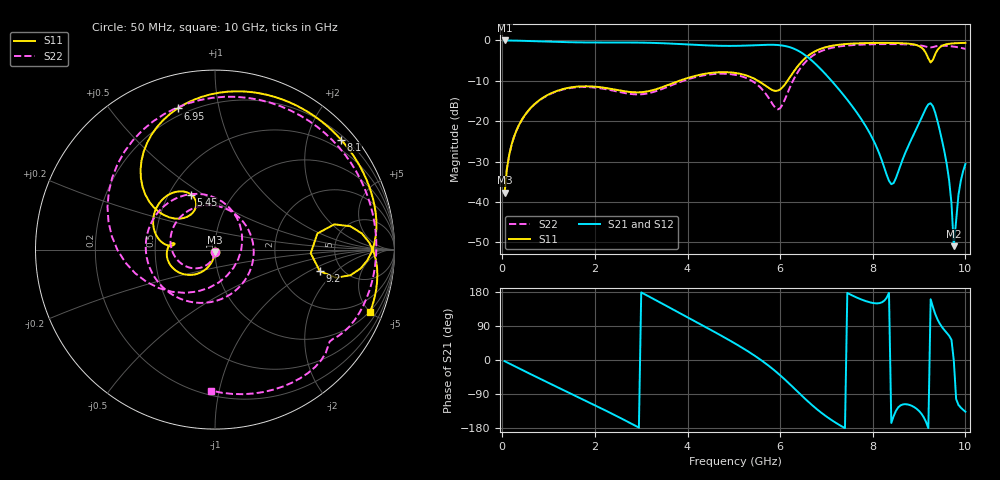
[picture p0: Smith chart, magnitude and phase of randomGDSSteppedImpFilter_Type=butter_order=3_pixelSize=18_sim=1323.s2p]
! freq	dB(S11)	phase(S11)	dB(S12)	phase(S12)
!  dB(S21)	phase(S21)	dB(S22)	phase(S22)
!S-par simulation data
#  GHz  S  DB  R 50
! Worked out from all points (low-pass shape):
!   200 points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, 50 MHz to 10 GHz, reference 50 ohm
!   highest |S21| = -0.01 dB at 50 MHz (marker M1); lowest = -51.0 dB at 9.75 GHz (marker M2)
!   |S21| within 3 dB of the highest: start of sweep to 6.456 GHz
!   lowest |S11| = -37.7 dB at 50 MHz (marker M3), VSWR 1.03, Z = 49.9 - j1.3 ohm
!   |S11| at or under -10 dB: start of sweep to 3.821 GHz; 5.523 GHz to 6.158 GHz (635.4 MHz wide, 10.9 % of centre)
!   |S22| runs from -37.7 to -0.9 dB; largest |S21 - S12| = 0
!   S11 on the Smith chart (normalised r, x): 50 MHz: 1.00, -0.03; 5.45 GHz: 0.65, +0.45; 6.95 GHz: 0.16, +0.76; 8.1 GHz: 0.28, +2.64; 9.2 GHz: 3.44, -1.28; 10 GHz: 0.94, -4.96
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0.05  -37.71 -92.1  -0.01 -3.1  -0.01 -3.1  -37.73 -93.1
0.2  -25.85 -100.0  -0.03 -12.3  -0.03 -12.3  -25.87 -104.1
0.5  -18.30 -115.4  -0.11 -30.6  -0.11 -30.6  -18.34 -125.9
1.75  -11.36 -170.2  -0.50 -104.6  -0.50 -104.6  -11.54 140.9
2.65  -12.60 171.0  -0.51 -159.3  -0.51 -159.3  -13.05 50.4
3.4  -11.79 175.1  -0.67 152.3  -0.67 152.3  -12.24 -52.2
4.2  -8.68 159.0  -1.12 99.5  -1.12 99.5  -9.01 -140.6
5.05  -8.08 126.5  -1.34 41.8  -1.34 41.8  -8.57 139.3
5.45  -9.53 113.4  -1.19 11.3  -1.19 11.3  -10.46 94.8
5.95  -12.43 129.8  -1.14 -34.9  -1.14 -34.9  -17.08 -22.2
6.2  -9.29 146.0  -1.65 -62.7  -1.65 -62.7  -11.92 -112.9
6.7  -3.04 122.5  -5.15 -120.2  -5.15 -120.2  -3.81 158.3
6.95  -1.79 104.9  -7.98 -144.8  -7.98 -144.8  -2.36 126.9
7.45  -0.86 74.0  -14.70 176.9  -14.70 176.9  -1.26 77.7
8.1  -0.61 41.1  -26.89 149.5  -26.89 149.5  -0.92 29.2
8.35  -0.62 29.5  -34.77 177.2  -34.77 177.2  -0.91 12.9
9.2  -4.49 -11.6  -15.81 -179.7  -15.81 -179.7  -1.68 -37.3
9.35  -3.36 11.9  -17.97 121.0  -17.97 121.0  -1.48 -42.9
9.6  -0.93 -3.7  -30.84 71.3  -30.84 71.3  -1.35 -60.1
9.75  -0.71 -11.4  -50.96 -1.5  -50.96 -1.5  -1.53 -71.1
9.85  -0.65 -15.9  -38.32 -118.4  -38.32 -118.4  -1.71 -78.8
10  -0.61 -22.1  -30.60 -136.4  -30.60 -136.4  -2.09 -91.6
